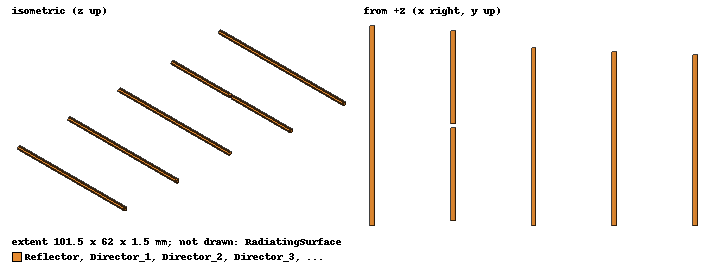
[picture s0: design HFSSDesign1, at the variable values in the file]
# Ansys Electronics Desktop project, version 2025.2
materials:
  vacuum: permittivity=1
  copper: permeability=0.999991 conductivity=58000000

design HFSSDesign1 (HFSS, HFSS Terminal Network, model units mm)
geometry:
  Reflector [copper] = cylinder(axis=Y, base_centre=(0mm, -31mm, 0mm), radius=0.75mm, height=62mm)
  upper_half [copper] = cylinder(axis=Y, base_centre=(25mm, 0.5mm, 0mm), radius=0.75mm, height=29mm)
  lower_half [copper] = cylinder(axis=Y, base_centre=(25mm, -29.5mm, 0mm), radius=0.75mm, height=29mm)
  Feed = rectangle(corner=(25mm, -0.5mm, -0.75mm), y_size=1mm, z_size=1.5mm)
  Director_1 [copper] = cylinder(axis=Y, base_centre=(50mm, -31mm, 0mm), radius=0.75mm, height=55mm)
  Director_2 [copper] = cylinder(axis=Y, base_centre=(75mm, -31mm, 0mm), radius=0.75mm, height=54mm)
  Director_3 [copper] = cylinder(axis=Y, base_centre=(100mm, -31mm, 0mm), radius=0.75mm, height=53mm)
  RadiatingSurface [vacuum] = region(absolute_offset=41.666667mm on all sides)
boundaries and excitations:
  Open1: Radiation Objects=RadiatingSurface
  1: Lumped Port Objects=Feed LumpedPortType=Modal Modes{Mode1{IntLine{(25, -0.5, 0) -> (25, 0.5, 0)} CharImp=Zpi}} Impedance=50ohm
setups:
  Setup1: HfssDriven Frequency=2.4GHz MaxDeltaS=0.02 MaximumPasses=6 MinimumPasses=1 MinimumConvergedPasses=1 PercentRefinement=30 BasisOrder=1 PortAccuracy=2 DrivenSolverType="Direct Solver"
    sweep Sweep: 2.2GHz to 2.6GHz, 401 points; Type=Interpolating InterpTolerance=0.5 InterpMaxSolns=250 PassivityErrorTolerance=0.0001
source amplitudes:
  1:1: 1V 0deg
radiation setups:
  Infinite Sphere1: Infinite Sphere Theta=0deg..180deg step 1deg Phi=0deg..360deg step 1deg
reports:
  E plane: max(GainTotal) vs Theta on Setup1 : LastAdaptive, Infinite Sphere1 [Phi=0deg Freq=2.4GHz]
  H plane: max(GainTotal) vs Theta on Setup1 : LastAdaptive, Infinite Sphere1 [Phi=90deg Freq=2.4GHz]
  Gain Plot1: dB(GainTotal) vs Phi, Theta on Setup1 : LastAdaptive, Infinite Sphere1 [Freq=2.4GHz]
  Terminal S Parameter Plot1: dB(St(1,1)) vs Freq on Setup1 : Sweep
